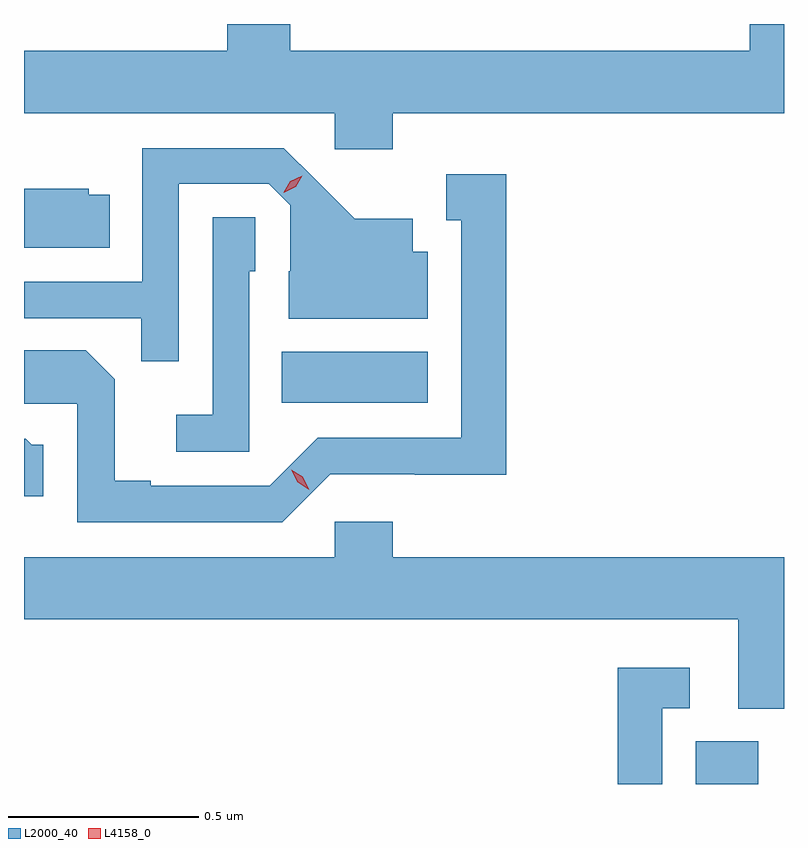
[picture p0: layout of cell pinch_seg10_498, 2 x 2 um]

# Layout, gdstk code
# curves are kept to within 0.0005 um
import gdstk
lib = gdstk.Library(unit=1e-6, precision=1e-09)
def R(c, l, rs):  # rectangles x0, y0, x1, y1
    for r in rs: c.add(gdstk.rectangle(r[:2], r[2:], *l))
def P(c, l, *ps):  # polygons
    for p in ps: c.add(gdstk.Polygon(p, *l))
L2000_40 = (2000, 40)
L4158_0 = (4158, 0)

pinch_seg10_498 = lib.new_cell('pinch_seg10_498')
R(pinch_seg10_498, L2000_40, [(324.05,1311.871,324.214,1311.984), (322.96,1312.874,323.344,1313.008)])
P(pinch_seg10_498, L2000_40, [(323.252,1313.636),(324.282,1313.636),(324.282,1313.871),(324.192,1313.871),(324.192,1313.8),(322.982,1313.8),(322.982,1313.871),(322.817,1313.871),(322.817,1313.8),(322.282,1313.8),(322.282,1313.636),(323.1,1313.636),(323.1,1313.541),(323.252,1313.541)],
  [(322.689,1313.451),(322.926,1313.451),(322.983,1313.394),(322.983,1313.22),(322.979,1313.22),(322.979,1313.096),(323.344,1313.096),(323.344,1313.272),(323.305,1313.272),(323.305,1313.359),(323.153,1313.359),(322.966,1313.544),(322.593,1313.544),(322.593,1313.193),(322.282,1313.193),(322.282,1313.097),(322.591,1313.097),(322.591,1312.984),(322.689,1312.984)],
  [(323.088,1312.686),(323.31,1312.686),(323.31,1312.685),(323.551,1312.685),(323.551,1313.476),(323.393,1313.476),(323.393,1313.355),(323.432,1313.355),(323.432,1312.782),(323.055,1312.782),(322.929,1312.656),(322.615,1312.656),(322.615,1312.669),(322.521,1312.669),(322.521,1312.936),(322.445,1313.012),(322.282,1313.012),(322.282,1312.872),(322.422,1312.872),(322.422,1312.56),(322.962,1312.56)],
  [(322.508,1313.422),(322.452,1313.422),(322.452,1313.437),(322.282,1313.437),(322.282,1313.282),(322.508,1313.282)],
  [(322.875,1313.22),(322.89,1313.22),(322.89,1313.363),(322.779,1313.363),(322.779,1312.843),(322.683,1312.843),(322.683,1312.746),(322.875,1312.746)],
  [(322.333,1312.764),(322.302,1312.764),(322.286,1312.78),(322.282,1312.78),(322.282,1312.628),(322.333,1312.628)],
  [(324.282,1312.468),(323.252,1312.468),(323.252,1312.561),(323.1,1312.561),(323.1,1312.468),(322.282,1312.468),(322.282,1312.304),(324.161,1312.304),(324.161,1312.069),(324.282,1312.069)],
  [(323.961,1312.071),(324.034,1312.071),(324.034,1312.177),(323.845,1312.177),(323.845,1311.871),(323.961,1311.871)])
P(pinch_seg10_498, L4158_0, [(323.033,1312.646),(323.002,1312.665),(322.985,1312.698),(322.985,1312.698),(322.985,1312.698),(323.016,1312.679),(323.033,1312.646),(323.033,1312.646)],
  [(322.966,1313.427),(322.966,1313.428),(322.983,1313.457),(323.014,1313.472),(323.014,1313.472),(323.014,1313.472),(322.997,1313.443),(322.966,1313.427)])

lib.write_gds('pinch_seg10_498.gds')
